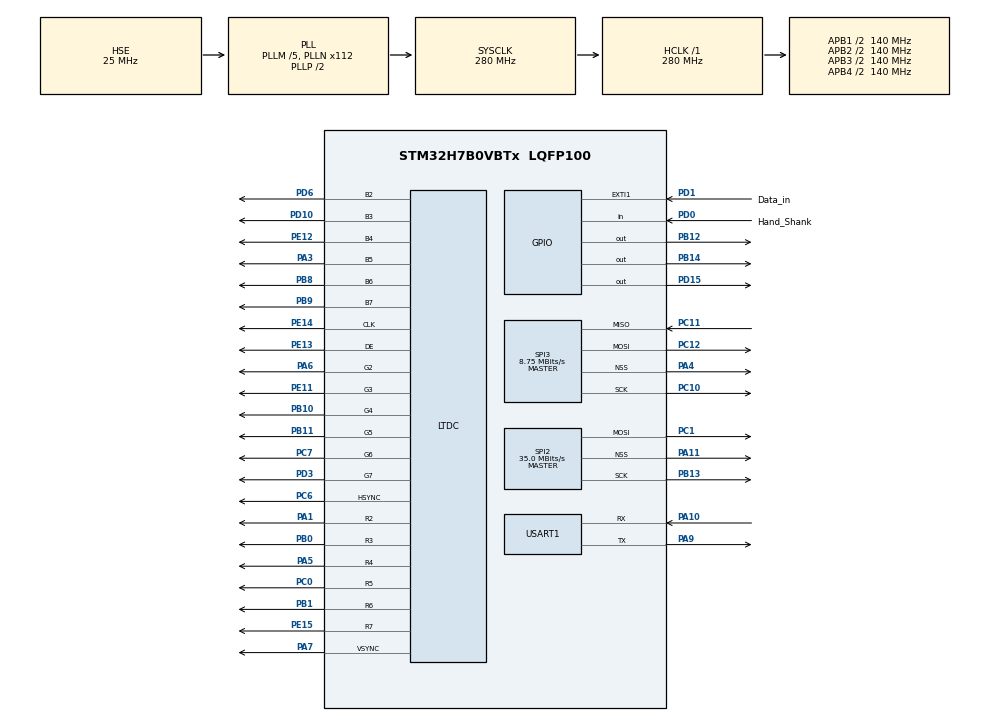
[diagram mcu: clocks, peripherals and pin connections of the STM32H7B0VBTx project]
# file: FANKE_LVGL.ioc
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CORTEX_M7.AccessPermission-Cortex_Memory_Protection_Unit_Region0_Settings=MPU_REGION_FULL_ACCESS
CORTEX_M7.BaseAddress-Cortex_Memory_Protection_Unit_Region0_Settings=0x24000000
CORTEX_M7.CPU_DCache=Enabled
CORTEX_M7.CPU_ICache=Enabled
CORTEX_M7.Enable-Cortex_Memory_Protection_Unit_Region0_Settings=MPU_REGION_ENABLE
CORTEX_M7.IsCacheable-Cortex_Memory_Protection_Unit_Region0_Settings=MPU_ACCESS_CACHEABLE
CORTEX_M7.MPU_Control=MPU_PRIVILEGED_DEFAULT
CORTEX_M7.Size-Cortex_Memory_Protection_Unit_Region0_Settings=MPU_REGION_SIZE_1MB
DMA2D.ColorMode=DMA2D_OUTPUT_RGB888
Dma.Request0=SPI2_TX
Dma.Request1=SPI3_RX
Dma.Request2=SPI3_TX
Dma.SPI2_TX.0.Direction=DMA_MEMORY_TO_PERIPH
Dma.SPI2_TX.0.EventEnable=DISABLE
Dma.SPI2_TX.0.FIFOMode=DMA_FIFOMODE_DISABLE
Dma.SPI2_TX.0.Instance=DMA1_Stream2
Dma.SPI2_TX.0.MemDataAlignment=DMA_MDATAALIGN_BYTE
Dma.SPI2_TX.0.MemInc=DMA_MINC_ENABLE
Dma.SPI2_TX.0.Mode=DMA_NORMAL
Dma.SPI2_TX.0.PeriphDataAlignment=DMA_PDATAALIGN_BYTE
Dma.SPI2_TX.0.PeriphInc=DMA_PINC_DISABLE
Dma.SPI2_TX.0.Polarity=HAL_DMAMUX_REQ_GEN_RISING
Dma.SPI2_TX.0.Priority=DMA_PRIORITY_LOW
Dma.SPI2_TX.0.RequestNumber=1
Dma.SPI2_TX.0.SignalID=NONE
Dma.SPI2_TX.0.SyncEnable=DISABLE
Dma.SPI2_TX.0.SyncPolarity=HAL_DMAMUX_SYNC_NO_EVENT
Dma.SPI2_TX.0.SyncRequestNumber=1
Dma.SPI2_TX.0.SyncSignalID=NONE
Dma.SPI3_RX.1.Direction=DMA_PERIPH_TO_MEMORY
Dma.SPI3_RX.1.EventEnable=DISABLE
Dma.SPI3_RX.1.FIFOMode=DMA_FIFOMODE_DISABLE
Dma.SPI3_RX.1.Instance=DMA1_Stream0
Dma.SPI3_RX.1.MemDataAlignment=DMA_MDATAALIGN_BYTE
Dma.SPI3_RX.1.MemInc=DMA_MINC_ENABLE
Dma.SPI3_RX.1.Mode=DMA_NORMAL
Dma.SPI3_RX.1.PeriphDataAlignment=DMA_PDATAALIGN_BYTE
Dma.SPI3_RX.1.PeriphInc=DMA_PINC_DISABLE
Dma.SPI3_RX.1.Polarity=HAL_DMAMUX_REQ_GEN_RISING
Dma.SPI3_RX.1.Priority=DMA_PRIORITY_VERY_HIGH
Dma.SPI3_RX.1.RequestNumber=1
Dma.SPI3_RX.1.SignalID=NONE
Dma.SPI3_RX.1.SyncEnable=DISABLE
Dma.SPI3_RX.1.SyncPolarity=HAL_DMAMUX_SYNC_NO_EVENT
Dma.SPI3_RX.1.SyncRequestNumber=1
Dma.SPI3_RX.1.SyncSignalID=NONE
Dma.SPI3_TX.2.Direction=DMA_MEMORY_TO_PERIPH
Dma.SPI3_TX.2.EventEnable=DISABLE
Dma.SPI3_TX.2.FIFOMode=DMA_FIFOMODE_DISABLE
Dma.SPI3_TX.2.Instance=DMA1_Stream1
Dma.SPI3_TX.2.MemDataAlignment=DMA_MDATAALIGN_BYTE
Dma.SPI3_TX.2.MemInc=DMA_MINC_ENABLE
Dma.SPI3_TX.2.Mode=DMA_NORMAL
Dma.SPI3_TX.2.PeriphDataAlignment=DMA_PDATAALIGN_BYTE
Dma.SPI3_TX.2.PeriphInc=DMA_PINC_DISABLE
Dma.SPI3_TX.2.Polarity=HAL_DMAMUX_REQ_GEN_RISING
Dma.SPI3_TX.2.Priority=DMA_PRIORITY_VERY_HIGH
Dma.SPI3_TX.2.RequestNumber=1
Dma.SPI3_TX.2.SignalID=NONE
Dma.SPI3_TX.2.SyncEnable=DISABLE
Dma.SPI3_TX.2.SyncPolarity=HAL_DMAMUX_SYNC_NO_EVENT
Dma.SPI3_TX.2.SyncRequestNumber=1
Dma.SPI3_TX.2.SyncSignalID=NONE
FREERTOS.Mutexes01=myMutex01,Dynamic,NULL
FREERTOS.Tasks01=defaultTask,24,512,StartDefaultTask,Default,NULL,Dynamic,NULL,NULL;myTask02,8,128,StartTask02,Default,NULL,Dynamic,NULL,NULL
FREERTOS.configUSE_TICK_HOOK=1
LTDC.ActiveW=800
LTDC.Alpha_L0=255
LTDC.FBStartAdress_L0=0x24000000
LTDC.HBP=13
LTDC.HFP=32
LTDC.HSync=41
LTDC.ImageHeight_L0=480
LTDC.ImageWidth_L0=800
LTDC.Layers=0
LTDC.PixelFormat_L0=LTDC_PIXEL_FORMAT_RGB565
LTDC.VSync=10
LTDC.WindowX1_L0=800
LTDC.WindowY1_L0=480
Mcu.Family=STM32H7
Mcu.Name=STM32H7B0VBTx
Mcu.Package=LQFP100
NVIC.DMA1_Stream0_IRQn=true\:5\:0\:false\:false\:true\:true\:false\:true\:true
NVIC.DMA1_Stream1_IRQn=true\:5\:0\:false\:false\:true\:true\:false\:true\:true
NVIC.DMA1_Stream2_IRQn=true\:5\:0\:false\:false\:true\:true\:false\:true\:true
NVIC.DMA2D_IRQn=true\:5\:0\:false\:false\:true\:true\:true\:true\:true
NVIC.EXTI1_IRQn=true\:5\:0\:false\:false\:true\:true\:true\:true\:true
NVIC.LTDC_ER_IRQn=true\:5\:0\:false\:false\:true\:true\:true\:true\:true
NVIC.LTDC_IRQn=true\:5\:0\:false\:false\:true\:true\:true\:true\:true
NVIC.PriorityGroup=NVIC_PRIORITYGROUP_4
NVIC.SPI2_IRQn=true\:5\:0\:false\:false\:true\:true\:false\:true\:true
NVIC.SPI3_IRQn=true\:1\:0\:true\:false\:true\:false\:false\:true\:true
NVIC.TIM17_IRQn=true\:15\:0\:false\:false\:true\:false\:false\:true\:true
NVIC.TimeBase=TIM17_IRQn
NVIC.TimeBaseIP=TIM17
PA1.GPIO_Speed=GPIO_SPEED_FREQ_VERY_HIGH
PA1.Mode=RGB666
PA1.Signal=LTDC_R2
PA10.Mode=Asynchronous
PA10.Signal=USART1_RX
PA11.Mode=NSS_Signal_Hard_Output
PA11.Signal=SPI2_NSS
PA13.Mode=Serial_Wire
PA13.Signal=DEBUG_JTMS-SWDIO
PA14.Mode=Serial_Wire
PA14.Signal=DEBUG_JTCK-SWCLK
PA3.GPIO_Speed=GPIO_SPEED_FREQ_VERY_HIGH
PA3.Mode=RGB666
PA3.Signal=LTDC_B5
PA4.GPIO_Speed=GPIO_SPEED_FREQ_VERY_HIGH
PA4.Mode=NSS_Signal_Hard_Output
PA4.Signal=SPI3_NSS
PA5.GPIO_Speed=GPIO_SPEED_FREQ_VERY_HIGH
PA5.Mode=RGB666
PA5.Signal=LTDC_R4
PA6.GPIO_Speed=GPIO_SPEED_FREQ_VERY_HIGH
PA6.Mode=RGB666
PA6.Signal=LTDC_G2
PA7.GPIO_Speed=GPIO_SPEED_FREQ_VERY_HIGH
PA7.Mode=RGB666
PA7.Signal=LTDC_VSYNC
PA9.Mode=Asynchronous
PA9.Signal=USART1_TX
PB0.GPIO_Speed=GPIO_SPEED_FREQ_VERY_HIGH
PB0.Mode=RGB666
PB0.Signal=LTDC_R3
PB1.GPIO_Speed=GPIO_SPEED_FREQ_VERY_HIGH
PB1.Mode=RGB666
PB1.Signal=LTDC_R6
PB10.GPIO_Speed=GPIO_SPEED_FREQ_VERY_HIGH
PB10.Mode=RGB666
PB10.Signal=LTDC_G4
PB11.GPIO_Speed=GPIO_SPEED_FREQ_VERY_HIGH
PB11.Mode=RGB666
PB11.Signal=LTDC_G5
PB12.Signal=GPIO_Output
PB13.Mode=TX_Only_Simplex_Unidirect_Master
PB13.Signal=SPI2_SCK
PB14.Signal=GPIO_Output
PB8.GPIO_Speed=GPIO_SPEED_FREQ_VERY_HIGH
PB8.Mode=RGB666
PB8.Signal=LTDC_B6
PB9.GPIO_Speed=GPIO_SPEED_FREQ_VERY_HIGH
PB9.Mode=RGB666
PB9.Signal=LTDC_B7
PC0.GPIO_Speed=GPIO_SPEED_FREQ_VERY_HIGH
PC0.Mode=RGB666
PC0.Signal=LTDC_R5
PC1.Mode=TX_Only_Simplex_Unidirect_Master
PC1.Signal=SPI2_MOSI
PC10.GPIO_Speed=GPIO_SPEED_FREQ_VERY_HIGH
PC10.Mode=Full_Duplex_Master
PC10.Signal=SPI3_SCK
PC11.GPIO_Speed=GPIO_SPEED_FREQ_VERY_HIGH
PC11.Mode=Full_Duplex_Master
PC11.Signal=SPI3_MISO
PC12.GPIO_Speed=GPIO_SPEED_FREQ_VERY_HIGH
PC12.Mode=Full_Duplex_Master
PC12.Signal=SPI3_MOSI
PC6.GPIO_Speed=GPIO_SPEED_FREQ_VERY_HIGH
PC6.Mode=RGB666
PC6.Signal=LTDC_HSYNC
PC7.GPIO_Speed=GPIO_SPEED_FREQ_VERY_HIGH
PC7.Mode=RGB666
PC7.Signal=LTDC_G6
PD0.GPIO_Label=Hand_Shank
PD0.Signal=GPIO_Input
PD1.GPIO_Label=Data_in
PD1.Signal=GPXTI1
PD10.GPIO_Speed=GPIO_SPEED_FREQ_VERY_HIGH
PD10.Mode=RGB666
PD10.Signal=LTDC_B3
PD15.PinState=GPIO_PIN_SET
PD15.Signal=GPIO_Output
PD3.GPIO_Speed=GPIO_SPEED_FREQ_VERY_HIGH
PD3.Mode=RGB666
PD3.Signal=LTDC_G7
PD6.GPIO_Speed=GPIO_SPEED_FREQ_VERY_HIGH
PD6.Mode=RGB666
PD6.Signal=LTDC_B2
PE11.GPIO_Speed=GPIO_SPEED_FREQ_VERY_HIGH
PE11.Mode=RGB666
PE11.Signal=LTDC_G3
PE12.GPIO_Speed=GPIO_SPEED_FREQ_VERY_HIGH
PE12.Mode=RGB666
PE12.Signal=LTDC_B4
PE13.GPIO_Speed=GPIO_SPEED_FREQ_VERY_HIGH
PE13.Mode=RGB666
PE13.Signal=LTDC_DE
PE14.GPIO_Speed=GPIO_SPEED_FREQ_VERY_HIGH
PE14.Mode=RGB666
PE14.Signal=LTDC_CLK
PE15.GPIO_Speed=GPIO_SPEED_FREQ_VERY_HIGH
PE15.Mode=RGB666
PE15.Signal=LTDC_R7
PH0-OSC_IN.Mode=HSE-External-Oscillator
PH0-OSC_IN.Signal=RCC_OSC_IN
PH1-OSC_OUT.Mode=HSE-External-Oscillator
PH1-OSC_OUT.Signal=RCC_OSC_OUT
ProjectManager.HeapSize=0x3000
ProjectManager.StackSize=0x1500
ProjectManager.TargetToolchain=MDK-ARM V5.32
RCC.ADCFreq_Value=50390625
RCC.APB1Freq_Value=140000000
RCC.APB2Freq_Value=140000000
RCC.APB3Freq_Value=140000000
RCC.APB4Freq_Value=140000000
RCC.CDPPRE=RCC_APB3_DIV2
RCC.CDPPRE1=RCC_APB1_DIV2
RCC.CDPPRE2=RCC_APB2_DIV2
RCC.CortexFreq_Value=280000000
RCC.DIVM1=5
RCC.DIVM3=4
RCC.DIVN1=112
RCC.DIVN3=43
RCC.DIVR3=8
RCC.HCLKFreq_Value=280000000
RCC.HSE_VALUE=25000000
RCC.PLL2FRACN=0
RCC.PLL3FRACN=0
RCC.PLLFRACN=0
RCC.PLLSourceVirtual=RCC_PLLSOURCE_HSE
RCC.SRDPPRE=RCC_APB4_DIV2
RCC.SYSCLKFreq_VALUE=280000000
RCC.SYSCLKSource=RCC_SYSCLKSOURCE_PLLCLK
RCC.USBFreq_Value=280000000
SPI2.BaudRatePrescaler=SPI_BAUDRATEPRESCALER_8
SPI2.CalculateBaudRate=35.0 MBits/s
SPI2.DataSize=SPI_DATASIZE_8BIT
SPI2.Direction=SPI_DIRECTION_2LINES_TXONLY
SPI2.Mode=SPI_MODE_MASTER
SPI2.VirtualNSS=VM_NSSHARD
SPI2.VirtualType=VM_MASTER
SPI3.BaudRatePrescaler=SPI_BAUDRATEPRESCALER_32
SPI3.CalculateBaudRate=8.75 MBits/s
SPI3.DataSize=SPI_DATASIZE_8BIT
SPI3.Direction=SPI_DIRECTION_2LINES
SPI3.Mode=SPI_MODE_MASTER
SPI3.VirtualNSS=VM_NSSHARD
SPI3.VirtualType=VM_MASTER
USART1.VirtualMode-Asynchronous=VM_ASYNC
VP_DMA2D_VS_DMA2D.Mode=DMA2D_Activate
VP_FREERTOS_VS_CMSIS_V2.Mode=CMSIS_V2
VP_SYS_VS_tim17.Mode=TIM17
board=custom

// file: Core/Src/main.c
/* USER CODE BEGIN Header */
/**
  ******************************************************************************
  * @file           : main.c
  * @brief          : Main program body
  ******************************************************************************
  * @attention
  *
  * Copyright (c) 2023 STMicroelectronics.
  * All rights reserved.
  *
  * This software is licensed under terms that can be found in the LICENSE file
  * in the root directory of this software component.
  * If no LICENSE file comes with this software, it is provided AS-IS.
  *
  ******************************************************************************
  */
/* USER CODE END Header */
#include "main.h"
#include "cmsis_os.h"
#include "dma.h"
#include "dma2d.h"
#include "ltdc.h"
#include "spi.h"
#include "usart.h"
#include "gpio.h"

/* USER CODE BEGIN Includes */
#include "lcd_rgb.h"
#include "lcd_test.h"
#include "touch_800x480.h"
#include "lvgl.h"
#include "lv_port_disp_template.h"
#include "lv_port_indev_template.h"
#include "lv_demo_keypad_encoder.h"
#include "lv_demo_stress.h"
#include "lv_demo_music.h"
#include "lv_demo_widgets.h"
#include "lv_demo_benchmark.h"
#include "wifi_cfg_page.h"

/* USER CODE END Includes */

void SystemClock_Config(void);
static void MPU_Config(void);
void MX_FREERTOS_Init(void);

int main(void)
{

  /* MPU Configuration--------------------------------------------------------*/
  MPU_Config();

  /* Enable I-Cache---------------------------------------------------------*/
  SCB_EnableICache();

  /* Enable D-Cache---------------------------------------------------------*/
  SCB_EnableDCache();

  /* MCU Configuration--------------------------------------------------------*/

  /* Reset of all peripherals, Initializes the Flash interface and the Systick. */
  HAL_Init();

  /* Configure the system clock */
  SystemClock_Config();

  /* Initialize all configured peripherals */
  MX_GPIO_Init();
  MX_DMA_Init();
  MX_LTDC_Init();
  MX_SPI2_Init();
  MX_DMA2D_Init();
  MX_USART1_UART_Init();
  MX_SPI3_Init();
  /* USER CODE BEGIN 2 */
	Touch_Init();				// 触摸屏初始化
	lv_init();					//	LVGL初始化
	lv_port_disp_init();		//	LVGL显示接口初始化
	lv_port_indev_init();	// LVGL触摸接口初始化
	gui_init();
	//lvgl_keyboard_mode_test();
  /* USER CODE END 2 */

  /* Init scheduler */
  osKernelInitialize();  /* Call init function for freertos objects (in freertos.c) */
  MX_FREERTOS_Init();

  /* Start scheduler */
  osKernelStart();
  /* We should never get here as control is now taken by the scheduler */
  /* Infinite loop */
  while (1)
  {

    /* USER CODE BEGIN 3 */

		HAL_Delay(10);

  }
  /* USER CODE END 3 */
}

void SystemClock_Config(void)
{
  RCC_OscInitTypeDef RCC_OscInitStruct = {0};
  RCC_ClkInitTypeDef RCC_ClkInitStruct = {0};

  /*AXI clock gating */
  RCC->CKGAENR = 0xFFFFFFFF;

  /** Supply configuration update enable
  */
  HAL_PWREx_ConfigSupply(PWR_LDO_SUPPLY);

  /** Configure the main internal regulator output voltage
  */
  __HAL_PWR_VOLTAGESCALING_CONFIG(PWR_REGULATOR_VOLTAGE_SCALE0);

  while(!__HAL_PWR_GET_FLAG(PWR_FLAG_VOSRDY)) {}

  /** Initializes the RCC Oscillators according to the specified parameters
  * in the RCC_OscInitTypeDef structure.
  */
  RCC_OscInitStruct.OscillatorType = RCC_OSCILLATORTYPE_HSE;
  RCC_OscInitStruct.HSEState = RCC_HSE_ON;
  RCC_OscInitStruct.PLL.PLLState = RCC_PLL_ON;
  RCC_OscInitStruct.PLL.PLLSource = RCC_PLLSOURCE_HSE;
  RCC_OscInitStruct.PLL.PLLM = 5;
  RCC_OscInitStruct.PLL.PLLN = 112;
  RCC_OscInitStruct.PLL.PLLP = 2;
  RCC_OscInitStruct.PLL.PLLQ = 2;
  RCC_OscInitStruct.PLL.PLLR = 2;
  RCC_OscInitStruct.PLL.PLLRGE = RCC_PLL1VCIRANGE_2;
  RCC_OscInitStruct.PLL.PLLVCOSEL = RCC_PLL1VCOWIDE;
  RCC_OscInitStruct.PLL.PLLFRACN = 0;
  if (HAL_RCC_OscConfig(&RCC_OscInitStruct) != HAL_OK)
  {
    Error_Handler();
  }

  /** Initializes the CPU, AHB and APB buses clocks
  */
  RCC_ClkInitStruct.ClockType = RCC_CLOCKTYPE_HCLK|RCC_CLOCKTYPE_SYSCLK
                              |RCC_CLOCKTYPE_PCLK1|RCC_CLOCKTYPE_PCLK2
                              |RCC_CLOCKTYPE_D3PCLK1|RCC_CLOCKTYPE_D1PCLK1;
  RCC_ClkInitStruct.SYSCLKSource = RCC_SYSCLKSOURCE_PLLCLK;
  RCC_ClkInitStruct.SYSCLKDivider = RCC_SYSCLK_DIV1;
  RCC_ClkInitStruct.AHBCLKDivider = RCC_HCLK_DIV1;
  RCC_ClkInitStruct.APB3CLKDivider = RCC_APB3_DIV2;
  RCC_ClkInitStruct.APB1CLKDivider = RCC_APB1_DIV2;
  RCC_ClkInitStruct.APB2CLKDivider = RCC_APB2_DIV2;
  RCC_ClkInitStruct.APB4CLKDivider = RCC_APB4_DIV2;

  if (HAL_RCC_ClockConfig(&RCC_ClkInitStruct, FLASH_LATENCY_7) != HAL_OK)
  {
    Error_Handler();
  }
}

/* MPU Configuration */

void MPU_Config(void)
{
  MPU_Region_InitTypeDef MPU_InitStruct = {0};

  /* Disables the MPU */
  HAL_MPU_Disable();

  /** Initializes and configures the Region and the memory to be protected
  */
  MPU_InitStruct.Enable = MPU_REGION_ENABLE;
  MPU_InitStruct.Number = MPU_REGION_NUMBER0;
  MPU_InitStruct.BaseAddress = 0x24000000;
  MPU_InitStruct.Size = MPU_REGION_SIZE_1MB;
  MPU_InitStruct.SubRegionDisable = 0x0;
  MPU_InitStruct.TypeExtField = MPU_TEX_LEVEL0;
  MPU_InitStruct.AccessPermission = MPU_REGION_FULL_ACCESS;
  MPU_InitStruct.DisableExec = MPU_INSTRUCTION_ACCESS_ENABLE;
  MPU_InitStruct.IsShareable = MPU_ACCESS_NOT_SHAREABLE;
  MPU_InitStruct.IsCacheable = MPU_ACCESS_CACHEABLE;
  MPU_InitStruct.IsBufferable = MPU_ACCESS_NOT_BUFFERABLE;

  HAL_MPU_ConfigRegion(&MPU_InitStruct);
  /* Enables the MPU */
  HAL_MPU_Enable(MPU_PRIVILEGED_DEFAULT);

}

void HAL_TIM_PeriodElapsedCallback(TIM_HandleTypeDef *htim)
{
  if (htim->Instance == TIM17) {
    HAL_IncTick();
  }
}

void Error_Handler(void)
{
  __disable_irq();
  while (1)
  {
  }
}

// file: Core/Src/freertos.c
/* USER CODE BEGIN Header */
/**
  ******************************************************************************
  * File Name          : freertos.c
  * Description        : Code for freertos applications
  ******************************************************************************
  * @attention
  *
  * Copyright (c) 2024 STMicroelectronics.
  * All rights reserved.
  *
  * This software is licensed under terms that can be found in the LICENSE file
  * in the root directory of this software component.
  * If no LICENSE file comes with this software, it is provided AS-IS.
  *
  ******************************************************************************
  */
/* USER CODE END Header */

#include "FreeRTOS.h"
#include "task.h"
#include "main.h"
#include "cmsis_os.h"

/* USER CODE BEGIN Includes */
#include "lcd_rgb.h"
#include "lcd_test.h"
#include "touch_800x480.h"
#include "lvgl.h"
#include "lv_port_disp_template.h"
#include "lv_port_indev_template.h"
#include "lv_demo_keypad_encoder.h"
#include "lv_demo_stress.h"
#include "lv_demo_music.h"
#include "lv_demo_widgets.h"
#include "lv_demo_benchmark.h"
#include "SPI_WiFi.h"
#include "usart.h"
#include "spi.h"
#include "stdio.h"
#include "string.h"
#include "SPI_WiFi.h"
#include "cJSON.h"
#include "main.h"
#include "spi.h"
#include "wifi_cfg_page.h"

/* USER CODE END Includes */

/* USER CODE BEGIN PTD */
int fputc(int ch,FILE *f){
	HAL_UART_Transmit(&huart1,(uint8_t *)&ch,1,100);
	return ch;
}
/* USER CODE END PTD */

/* USER CODE BEGIN Variables */
uint8_t p[1024],p2[1024]={0};
uint8_t p1[1024] ;//__attribute__((at(0x38000000)));
const char jpeg[] = {
	0xFF,0xD8,0xFF,0xE0,0x00,0x10,0x4A,0x46,0x49,0x46,0x00,0x01,0x01,0x00,0x00,0x01,0x00,0x01,0x00,0x00,0xFF,0xDB,0x00,0x43,0x00,0x50,0x37,0x3C,0x46,0x3C,0x32,0x50,0x46,0x41,0x46,0x5A,0x55,0x50,0x5F,0x78,0xC8,0x82,0x78,0x6E,0x6E,0x78,0xF5,0xAF,0xB9,0x91,0xC8,0xFF,0xFF,0xFF,0xFF,0xFF,0xFF,0xFF,0xFF,0xFF,0xFF,0xFF,0xFF,0xFF,0xFF,0xFF,0xFF,0xFF,0xFF,0xFF,0xFF,0xFF,
0xFF,0xFF,0xFF,0xFF,0xFF,0xFF,0xFF,0xFF,0xFF,0xFF,0xFF,0xFF,0xFF,0xFF,0xFF,0xFF,0xFF,0xFF,0xDB,0x00,0x43,0x01,0x55,0x5A,0x5A,0x78,0x69,0x78,0xEB,0x82,0x82,0xEB,0xFF,0xFF,0xFF,0xFF,0xFF,0xFF,0xFF,0xFF,0xFF,0xFF,0xFF,0xFF,0xFF,0xFF,0xFF,0xFF,0xFF,0xFF,0xFF,0xFF,0xFF,0xFF,0xFF,0xFF,0xFF,0xFF,0xFF,0xFF,0xFF,0xFF,0xFF,0xFF,0xFF,0xFF,0xFF,0xFF,0xFF,0xFF,0xFF,0xFF,0xFF,0xFF,0xFF,0xFF,0xFF,0xFF,0xFF,0xFF,0xFF,0xFF,0xFF,0xFF,0xFF,0xFF,0xFF,0xC0,0x00,0x11,0x08,0x00,
0xF0,0x01,0x40,0x03,0x01,0x22,0x00,0x02,0x11,0x01,0x03,0x11,0x01,0xFF,0xC4,0x00,0x1F,0x00,0x00,0x01,0x05,0x01,0x01,0x01,0x01,0x01,0x01,0x00,0x00,0x00,0x00,0x00,0x00,0x00,0x00,0x01,0x02,0x03,0x04,0x05,0x06,0x07,0x08,0x09,0x0A,0x0B,0xFF,0xC4,0x00,0xB5,0x10,0x00,0x02,0x01,0x03,
0x03,0x02,0x04,0x03,0x05,0x05,0x04,0x04,0x00,0x00,0x01,0x7D,0x01,0x02,0x03,0x00,0x04,0x11,0x05,0x12,0x21,0x31,0x41,0x06,0x13,0x51,0x61,0x07,0x22,0x71,0x14,0x32,0x81,0x91,0xA1,0x08,0x23,0x42,0xB1,0xC1,0x15,0x52,0xD1,0xF0,0x24,0x33,0x62,0x72,0x82,0x09,0x0A,0x16,0x17,0x18,0x19,0x1A,0x25,0x26,0x27,0x28,0x29,0x2A,0x34,0x35,0x36,0x37,0x38,0x39,0x3A,0x43,0x44,0x45,0x46,
0x47,0x48,0x49,0x4A,0x53,0x54,0x55,0x56,0x57,0x58,0x59,0x5A,0x63,0x64,0x65,0x66,0x67,0x68,0x69,0x6A,0x73,0x74,0x75,0x76,0x77,0x78,0x79,0x7A,0x83,0x84,0x85,0x86,0x87,0x88,0x89,0x8A,0x92,0x93,0x94,0x95,0x96,0x97,0x98,0x99,0x9A,0xA2,0xA3,0xA4,0xA5,0xA6,0xA7,0xA8,0xA9,0xAA,0xB2,0xB3,0xB4,0xB5,0xB6,0xB7,0xB8,0xB9,0xBA,0xC2,0xC3,0xC4,0xC5,0xC6,0xC7,0xC8,0xC9,0xCA,0xD2,0xD3,0xD4,0xD5,0xD6,0xD7,0xD8,0xD9,0xDA,0xE1,0xE2,0xE3,0xE4,0xE5,0xE6,0xE7,0xE8,0xE9,0xEA,0xF1,
0xF2,0xF3,0xF4,0xF5,0xF6,0xF7,0xF8,0xF9,0xFA,0xFF,0xC4,0x00,0x1F,0x01,0x00,0x03,0x01,0x01,0x01,0x01,0x01,0x01,0x01,0x01,0x01,0x00,0x00,0x00,0x00,0x00,0x00,0x01,0x02,0x03,0x04,0x05,0x06,0x07,0x08,0x09,0x0A,0x0B,0xFF,0xC4,0x00,0xB5,0x11,0x00,0x02,0x01,0x02,0x04,0x04,0x03,0x04,
0x07,0x05,0x04,0x04,0x00,0x01,0x02,0x77,0x00,0x01,0x02,0x03,0x11,0x04,0x05,0x21,0x31,0x06,0x12,0x41,0x51,0x07,0x61,0x71,0x13,0x22,0x32,0x81,0x08,0x14,0x42,0x91,0xA1,0xB1,0xC1,0x09,0x23,0x33,0x52,0xF0,0x15,0x62,0x72,0xD1,0x0A,0x16,0x24,0x34,0xE1,0x25,0xF1,0x17,0x18,0x19,0x1A,
0x26,0x27,0x28,0x29,0x2A,0x35,0x36,0x37,0x38,0x39,0x3A,0x43,0x44,0x45,0x46,0x47,0x48,0x49,0x4A,0x53,0x54,0x55,0x56,0x57,0x58,0x59,0x5A,0x63,0x64,0x65,0x66,0x67,0x68,0x69,0x6A,0x73,0x74,0x75,0x76,0x77,0x78,0x79,0x7A,0x82,0x83,0x84,0x85,0x86,0x87,0x88,0x89,0x8A,0x92,0x93,0x94,
0x95,0x96,0x97,0x98,0x99,0x9A,0xA2,0xA3,0xA4,0xA5,0xA6,0xA7,0xA8,0xA9,0xAA,0xB2,0xB3,0xB4,0xB5,0xB6,0xB7,0xB8,0xB9,0xBA,0xC2,0xC3,0xC4,0xC5,0xC6,0xC7,0xC8,0xC9,0xCA,0xD2,0xD3,0xD4,0xD5,0xD6,0xD7,0xD8,0xD9,0xDA,0xE2,0xE3,0xE4,0xE5,0xE6,0xE7,0xE8,0xE9,0xEA,0xF2,0xF3,0xF4,0xF5,0xF6,0xF7,0xF8,0xF9,0xFA,0xFF,0xDA,0x00,0x0C,0x03,0x01,0x00,0x02,0x11,0x03,0x11,0x00,0x3F,0x00,0x5A,0x28,0xA2,0x80,0x0A,0x5A,0x4A,0x5A,0x09,0x61,0x46,0x68,0xA2,0x82,0x6C,0x21,0xA4,0xA5,
0xA2,0x82,0xD0,0x52,0xD1,0x45,0x03,0x10,0xD3,0x4D,0x38,0xD3,0x4D,0x00,0x25,0x14,0x51,0x40,0x05,0x28,0xA4,0xA5,0x14,0x00,0xE1,0x4E,0x14,0xD1,0x4A,0x29,0x12,0x3C,0x53,0x85,0x30,0x1A,0x70,0x34,0x14,0x3E,0x8A,0x6E,0x68,0xDD,0x4C,0x05,0xA4,0xA3,0x34,0x99,0xA0,0x05,0xA4,0xA3,0x34,0x99,0xA0,0x00,0xD2,0x50,0x4D,0x37,0x34,0x00,0x51,0x49,0x9A,0x4C,0xD0,0x02,0xD2,0x51,0x49,0x40,0x08,0xC6,0xA1,0x6A,0x95,0xAA,0x23,0x40,0x09,0x40,0xA3,0x14,0xA0,0x50,0x02,0x8A,0x5A,0x28,
0xA0,0x61,0x45,0x14,0x50,0x04,0xF4,0x0A,0x29,0x45,0x04,0xB0,0xA3,0x14,0xB4,0x50,0x66,0xD8,0x94,0x94,0xEA,0x42,0x28,0x29,0x31,0x28,0xA2,0x96,0x82,0xC2,0x8A,0x28,0xA0,0x04,0x34,0xD3,0x4A,0x69,0x0D,0x00,0x25,0x14,0x51,0x40,0x05,0x28,0xA2,0x94,0x0A,0x04,0xC5,0xA2,0x8A,0x43,0x48,
0x91,0x73,0x46,0xEA,0x61,0x34,0x99,0xA6,0x52,0x24,0xDD,0x46,0xEA,0x8F,0x34,0x66,0x81,0x92,0x6E,0xA5,0xDD,0x51,0x66,0x8C,0xD0,0x04,0xBB,0xA8,0xDD,0x51,0xE6,0x8C,0xD0,0x03,0xF3,0x49,0x9A,0x6E,0x69,0x33,0x40,0xC7,0x66,0x8C,0xD3,0x73,0x46,0x68,0x01,0x73,0x45,0x37,0x34,0x66,0x80,
0x11,0xA9,0xB4,0xA6,0x92,0x81,0x05,0x14,0x52,0xD0,0x01,0x45,0x14,0x50,0x30,0xA4,0xA2,0x92,
0x80,0x2C,0xD0,0x28,0xA2,0x82,0x47,0x51,0x48,0x0D,0x2E,0x68,0x33,0x71,0x0A,0x0D,0x19,0xA4,0xA0,0x69,0x05,0x14,0x94,0x50,0x68,0x2D,0x14,0x52,0x1A,0x00,0x43,0x4D,0x34,0xE3,0x4D,0xA0,0x02,0x8A,0x29,0x68,0x00,0x1D,0x69,0xF8,0xA6,0xAF,0x5A,0x7D,0x04,0xC8,0x4A,0x69,0xA7,0x1A,0x61,0xA4,0x42,0x1A,0x69,0xB9,0xA5,0x34,0xDA,0x66,0x88,0x5C,0xD1,0x9A,0x6D,0x14,0x0C,0x76,0x68,0xCD,0x36,0x96,0x80,0x17,0x34,0xB9,0xA6,0xD1,0x40,0xC5,0xCD,0x2E,0x69,0xB4,0x50,0x02,0xD1,0x49,
0x45,0x00,0x2D,0x14,0x94,0x50,0x02,0x1A,0x28,0xA4,0xA0,0x42,0xD2,0xD3,0x73,0x4B,0x40,0x0B,0x49,0x45,0x21,0xA0,0x61,0x45,0x25,0x28,0xA0,0x45,0x9A,0x28,0xA2,0x80,0x0A,0x28,0xA2,0x80,0x0A,0x28,0xA2,0x80,0x0A,0x5A,0x28,0xA0,0x02,0x90,0xD2,0xD2,0x1A,0x00,0x69,0xA4,0xA5,0x34,0x94,
0x00,0x52,0xD1,0x45,0x00,0x39,0x7A,0xD3,0xA9,0xAB,0x4E,0xA0,0x89,0x08,0x69,0x8D,0x4F,0x35,0x1B,0x52,0x25,0x0C,0x34,0xDA,0x53,0x49,0x4C,0xD1,0x05,0x14,0x94,0x50,0x31,0x68,0xA2,0x8A,0x06,0x14,0x51,0x45,0x00,0x2D,0x14,0x94,0xB4,0x00,0x51,0x45,0x14,0x00,0x51,0x45,0x25,0x00,0x14,0x86,0x96,0x8A,0x04,0x36,0x8C,0xD0,0x69,0x28,0x01,0x73,0x45,0x25,0x14,0x00,0xB4,0xA2,0x9B,0x4B,0x40,0x16,0xE8,0xA2,0x96,0x80,0x12,0x8A,0x5A,0x28,0x01,0x28,0xA5,0xA2,0x80,0x12,0x8A,0x5A,
0x28,0x01,0x29,0x0D,0x3A,0x9A,0x68,0x01,0xA6,0x92,0x94,0xD1,0x40,0x05,0x14,0x51,0x40,0x0E,0x14,0xB4,0x82,0x96,0x82,0x24,0x21,0xA6,0x35,0x3C,0xD4,0x6D,0x48,0x48,0x61,0xA6,0xD2,0x9A,0x4A,0x65,0xA0,0xA2,0x8A,0x28,0x18,0xB4,0x51,0x45,0x03,0x0A,0x28,0xA2,0x80,0x0A,0x28,0xA2,0x80,0x16,0x8A,0x28,0xA0,0x02,0x92,0x96,0x92,0x80,0x0A,0x28,0xA2,0x90,0x08,0x69,0x29,0xD4,0x98,0xA6,0x21,0x31,0x45,0x3B,0x14,0x98,0xA0,0x04,0xA2,0x96,0x8A,0x06,0x59,0xCD,0x2E,0x69,0x99,0xA5,
0xCD,0x02,0x1D,0x9A,0x33,0x4D,0xCD,0x19,0xA0,0x07,0xD1,0x4C,0xCD,0x2E,0x68,0x01,0xD4,0xB4,0xDC,0xD2,0xE6,0x80,0x0A,0x43,0x4B,0x9A,0x28,0x01,0xA4,0x52,0x62,0x9D,0x49,0x40,0x0D,0xA5,0xA5,0xC5,0x25,0x00,0x28,0xA5,0xA4,0x14,0xB4,0x88,0x63,0x4D,0x46,0xD4,0xF6,0xA8,0xDA,0x80,0x43,
0x4D,0x25,0x2D,0x25,0x32,0xC2,0x8A,0x28,0xA0,0x61,0x45,0x14,0x50,0x02,0xD1,0x49,0x4B,0x40,0x05,0x14,0x51,0x40,0x0B,0x45,0x14,0x50,0x01,0x49,0x4B,0x49,0x40,0x05,0x14,0x52,0xD2,0x00,0xA4,0xA2,0x8A,0x00,0x28,0xA2,0x8A,0x00,0x28,0xA2,0x8A,0x00,0x96,0x8A,0x5A,0x4A,0x64,0x89,0x46,
0x68,0xA2,0x81,0x80,0x34,0xEC,0xD3,0x69,0x68,0x01,0x73,0x4B,0x9A,0x6D,0x2D,0x02,0x1D,0x9A,0x33,0x4D,0xA2,0x80,0x1F,0x9A,0x29,0xB9,0xA5,0xCD,0x03,0x16,0x8A,0x33,0x45,0x00,0x14,0x94,0x52,
0x13,0x48,0x96,0x84,0x6A,0x88,0xD3,0xD8,0xD4,0x66,0x81,0xA4,0x14,0x50,0x29,0x71,0x4C,0xA1,0xB8,0xA2,0x9D,0x8A,0x31,0x40,0x0D,0xA2,0x96,0x8A,0x00,0x4A,0x28,0xA2,0x80,0x16,0x8A,0x28,0xA0,0x05,0xA2,0x8A,0x28,0x00,0xA4,0xA5,0xA4,0xA0,0x02,0x96,0x92,0x96,0x90,0x09,0x45,0x14,0x50,0x01,0x45,0x14,0x50,0x01,0x45,0x14,0x50,0x04,0xF4,0x94,0xEC,0x51,0x8A,0x62,0x19,0x8A,0x31,0x4E,0xC5,0x18,0xA0,0x06,0xD1,0x4E,0xC5,0x26,0x28,0x01,0x29,0x68,0xC5,0x14,0x00,0x51,0x45,0x14,
0x08,0x29,0x69,0x28,0xA0,0x62,0xE6,0x8C,0xD2,0x52,0xD0,0x01,0x48,0x69,0x69,0x0D,0x01,0x61,0x8D,0x4C,0x34,0xE6,0xA6,0xD0,0x00,0x29,0xE2,0x9A,0x29,0xC2,0x81,0x85,0x25,0x3A,0x92,0x90,0xC6,0xD2,0x53,0xA9,0x28,0x01,0x28,0xA2,0x8A,0x62,0x0A,0x28,0xA2,0x80,0x16,0x8A,0x28,0xA0,0x02,0x92,0x94,0xD2,0x50,0x01,0x45,0x14,0xB4,0x00,0x94,0x52,0xD2,0x52,0x00,0xA5,0xA2,0x92,0x80,0x0A,0x28,0xA4,0xA0,0x0B,0x74,0x62,0x8A,0x29,0x88,0x4C,0x51,0x8A,0x5A,0x28,0x01,0x31,0x49,0x8A,
0x75,0x18,0xA0,0x06,0xE2,0x92,0x9F,0x8A,0x69,0xA0,0x06,0xD1,0x41,0xA4,0xA0,0x05,0xA2,0x92,0x96,0x81,0x85,0x2D,0x14,0x50,0x01,0x48,0x69,0x69,0xA6,0x80,0x18,0xD4,0xDA,0x71,0xA6,0xD0,0x02,0x8A,0x78,0xA6,0x0A,0x70,0xA0,0x05,0xA2,0x8A,0x29,0x0C,0x4A,0x4A,0x5A,0x28,0x01,0xB4,0x94,
0xEA,0x4A,0x04,0x25,0x2D,0x14,0x53,0x00,0xA2,0x8A,0x28,0x01,0x0D,0x25,0x06,0x8A,0x00,0x5A,0x29,0x29,0x68,0x00,0xA2,0x8A,0x29,0x00,0x51,0x45,0x14,0xC0,0x29,0x29,0x68,0xA4,0x05,0xAA,0x28,0xA2,0x98,0x82,0x96,0x92,0x8A,0x00,0x5A,0x28,0xA2,0x80,0x0A,0x69,0xA7,0xD3,0x4D,0x00,0x30,
0xD3,0x69,0xC6,0x92,0x80,0x0A,0x5A,0x4A,0x5A,0x00,0x28,0xA2,0x96,0x81,0x89,0x4D,0x34,0xEA,0x6B,0x50,0x32,0x33,0x49,0x4A,0x68,0xA0,0x40,0x29,0xC2,0x9A,0x29,0x68,0x01,0xD4,0x52,0x52,0xD2,0x18,0x52,0x52,0xD1,0x40,0x09,0x49,0x4E,0xA4,0xA0,0x04,0xA4,0xA7,0x52,0x50,0x21,0x28,0xA5,
0xA4,0x34,0x00,0xD3,0x45,0x14,0x53,0x00,0xA2,0x8A,0x28,0x01,0x68,0xA2,0x8A,0x00,0x28,0xA5,0xA2,0x80,0x12,0x8A,0x28,0xA4,0x05,0xAA,0x28,0xA2,0x98,0x82,0x8A,0x28,0xA0,0x02,0x96,0x92,0x96,0x80,0x0A,0x43,0x4B,0x48,0x68,0x01,0xA6,0x9B,0x4A,0x69,0x28,0x00,0xA5,0xA4,0xA5,0xA0,0x05,0x14,0x50,0x29,0x4D,0x03,0x1A,0x69,0x8D,0x4F,0x34,0xC6,0xA0,0x63,0x0D,0x14,0x51,0x40,0x85,0xA2,0x8A,0x5A,0x00,0x29,0x69,0x29,0x68,0x01,0x68,0xA2,0x8A,0x40,0x14,0x94,0xB4,0x50,0x02,0x52,
0x53,0xA9,0x28,0x18,0xDA,0x43,0x4E,0x34,0xC3,0x40,0x84,0xA2,0x8A,0x29,0x80,0xB4,0x51,0x45,0x00,0x14,0xB4,0x94,0xB4,0x00,0x51,0x45,0x14,0x80,0x4A,0x28,0x34,0x94,0x01,0x6A,0x96,0x92,0x96,0x98,0x82,0x8A,0x28,0xA0,0x02,0x8A,0x28,0xA0,0x05,0xA4,0x34,0xB4,0xD3,0x40,0x0D,0x34,0x94,
0xA6,0x92,0x80,0x0A,0x5A,0x4A,0x5A,0x00,0x51,0x41,0xA2,0x8A,0x06,0x86,0x9A,0x61,0xA7,0x9A,0x61,0xA0,0x62,0x50,0x05,0x2D,0x28,0x14,0x08,0x31,0x46,0x29,0xD8,0xA5,0xC5,0x02,0x1B,0x8A,0x31,0x4E,0xC5,0x2E,0x28,0x18,0xCC,0x52,0xD3,0xB1,0x46,0x28,0x01,0xB4,0x53,0xB1,0x46,0x29,0x00,0xDA,0x4A,0x76,0x28,0xC5,0x00,0x30,0xD3,0x1A,0xA4,0x35,0x1B,0x50,0x03,0x68,0xA5,0xA2,0x98,0x05,0x2D,0x14,0x52,0x00,0xA2,0x8A,0x28,0x00,0xA2,0x8A,0x28,0x01,0x0D,0x00,0x51,0x4A,0x28,0x02,
0xC5,0x2D,0x25,0x2D,0x31,0x05,0x14,0x51,0x40,0x05,0x14,0x51,0x40,0x05,0x21,0xA5,0xA4,0x34,0x00,0xD3,0x49,0x41,0xA2,0x80,0x0A,0x5A,0x4A,0x5A,0x00,0x28,0xA2,0x8A,0x0A,0x42,0x1A,0x69,0xA7,0xD2,0x62,0x80,0x1A,0x05,0x3C,0x0A,0x00,0xA9,0x00,0xA0,0x91,0xA0,0x52,0xE2,0x9F,0x8A,0x31,
0x40,0x0D,0xC5,0x18,0xA7,0x62,0x97,0x14,0x00,0xCC,0x51,0x8A,0x7E,0x29,0x28,0x01,0xB8,0xA4,0xC5,0x3E,0x92,0x90,0x0D,0xC5,0x26,0x29,0xD4,0x50,0x32,0x26,0x15,0x11,0xEB,0x53,0x3D,0x42,0x7A,0xD0,0x01,0x45,0x14,0x50,0x01,0x4B,0x45,0x14,0x00,0x52,0x52,0xD2,0x50,0x01,0x49,0x4B,0x49,
0x40,0x05,0x38,0x53,0x69,0xC2,0x80,0x2C,0x51,0x45,0x15,0x40,0x14,0x94,0x51,0x48,0x42,0xD1,0x49,0x4B,0x40,0x05,0x34,0xD3,0x8D,0x34,0xD0,0x03,0x4D,0x14,0x51,0x40,0x05,0x2D,0x25,0x28,0xA0,0x05,0xA2,0x8A,0x05,0x05,0x06,0x28,0x02,0x9C,0x05,0x28,0x14,0x09,0x80,0x14,0xF0,0x28,0x02,0x96,0x81,0x05,0x14,0x51,0x40,0x05,0x14,0x51,0x40,0x05,0x25,0x2D,0x25,0x00,0x25,0x14,0xB4,0x94,0x80,0x4A,0x0D,0x2D,0x21,0xA0,0x08,0x9E,0xA1,0xEF,0x52,0xC9,0x51,0x50,0x30,0xA2,0x8A,0x5A,
0x00,0x28,0xA2,0x8A,0x00,0x29,0x29,0x69,0x28,0x00,0xA2,0x8A,0x28,0x00,0xA7,0x0A,0x6D,0x28,0xA0,0x09,0xE8,0xA4,0xA5,0xA6,0x20,0xA2,0x8A,0x28,0x00,0xA5,0xA4,0xA2,0x80,0x03,0x4D,0x34,0xE3,0x4D,0x34,0x00,0x94,0x51,0x45,0x00,0x14,0xA2,0x92,0x94,0x50,0x34,0x2D,0x28,0xA2,0x94,0x50,
0x58,0xE0,0x29,0x45,0x02,0x96,0x82,0x58,0xB4,0x51,0x45,0x04,0x85,0x14,0x51,0x40,0x05,0x14,0x51,0x40,0x05,0x25,0x2D,0x25,0x00,0x14,0x51,0x45,0x20,0x12,0x90,0xD3,0xA9,0xAD,0x40,0x10,0xC9,
0x51,0x54,0x92,0x54,0x74,0xC6,0x2D,0x14,0x51,0x48,0x02,0x8A,0x28,0xA0,0x02,0x92,0x96,0x92,0x80,0x0A,0x28,0xA4,0xA0,0x05,0xA5,0xA0,0x51,0x40,0x1F,0xFF,0xD9

};
/* USER CODE END Variables */
/* Definitions for defaultTask */
osThreadId_t defaultTaskHandle;
const osThreadAttr_t defaultTask_attributes = {
  .name = "defaultTask",
  .stack_size = 2048 * 4,
  .priority = (osPriority_t) osPriorityNormal,
};
/* Definitions for myTask02 */
osThreadId_t myTask02Handle;
const osThreadAttr_t myTask02_attributes = {
  .name = "myTask02",
  .stack_size = 256 * 4,
  .priority = (osPriority_t) osPriorityLow,
};
/* Definitions for myMutex01 */
osMutexId_t myMutex01Handle;
const osMutexAttr_t myMutex01_attributes = {
  .name = "myMutex01"
};

void StartDefaultTask(void *argument);
void StartTask02(void *argument);

void MX_FREERTOS_Init(void); /* (MISRA C 2004 rule 8.1) */

/* Hook prototypes */
void vApplicationTickHook(void);

/* USER CODE BEGIN 3 */
void vApplicationTickHook( void )
{
   /* This function will be called by each tick interrupt if
   configUSE_TICK_HOOK is set to 1 in FreeRTOSConfig.h. User code can be
   added here, but the tick hook is called from an interrupt context, so
   code must not attempt to block, and only the interrupt safe FreeRTOS API
   functions can be used (those that end in FromISR()). */
	lv_tick_inc(1);
}
/* USER CODE END 3 */

void MX_FREERTOS_Init(void) {
  /* Create the mutex(es) */
  /* creation of myMutex01 */
  myMutex01Handle = osMutexNew(&myMutex01_attributes);

  /* Create the thread(s) */
  /* creation of defaultTask */
  defaultTaskHandle = osThreadNew(StartDefaultTask, NULL, &defaultTask_attributes);

  /* creation of myTask02 */
  myTask02Handle = osThreadNew(StartTask02, NULL, &myTask02_attributes);

}

void StartDefaultTask(void *argument)
{
  /* USER CODE BEGIN StartDefaultTask */
  /* Infinite loop */
	ESP_Init_Default_Cfg();
  for(;;)
  {
		osMutexAcquire(myMutex01Handle,portMAX_DELAY);
		lv_task_handler();
		osMutexRelease(myMutex01Handle);
//		int i=0,j=0,k=0,point=0;
//		unsigned char temp_jpeg[1024];
//		int len = sizeof(jpeg);
//		int block = len/1024;
//
//		for (i=0;i<block;i++)
//		{
//			for(j=0;j<1024;j++)
//			{
//				temp_jpeg[j]=jpeg[point];
//				point = point + 1;
//			}
//			write(&hspi3,temp_jpeg,1024);
//			osDelay(10);
//		}
//		memset(temp_jpeg,0,1024);
//		len=len%1024;
//		for(k=0;k<len;k++)
//		{
//			temp_jpeg[k]=jpeg[point];
//			point = point + 1;
//		}
//		write(&hspi3,temp_jpeg,1024);
    osDelay(10);
  }
  /* USER CODE END StartDefaultTask */
}

void StartTask02(void *argument)
{
  /* USER CODE BEGIN StartTask02 */
  /* Infinite loop */
	printf("完成OK\r\n");
  for(;;)
  {
		memset(p1,0,1024);
		if(read(&hspi3,p1,100)==1){
			HAL_UART_Transmit(&huart1,(uint8_t *)p1,1024,100);
			//printf("%s\r\n",p1);
		}
		//write(&hspi3,"123124",100);
    osDelay(3);
  }
  /* USER CODE END StartTask02 */
}

/* USER CODE BEGIN Application */
void HAL_GPIO_EXTI_Callback(uint16_t GPIO_Pin){
//	if(HAL_GPIO_ReadPin(Data_in_GPIO_Port,Data_in_Pin) == GPIO_PIN_SET){
//		HAL_UART_Transmit(&huart1,(uint8_t *)"Ready",5,100);
////		while(HAL_GPIO_ReadPin(Hand_Shank_GPIO_Port,Hand_Shank_Pin) == GPIO_PIN_RESET){
////			;
////		}
////		if(HAL_GPIO_ReadPin(Hand_Shank_GPIO_Port,Hand_Shank_Pin) == GPIO_PIN_SET){
////			HAL_SPI_Receive_DMA(&hspi3,p1,1024);
////		}
//	}
}
void HAL_SPI_RxCpltCallback(SPI_HandleTypeDef *hspi){
	if(hspi == &hspi3){
		//printf("SPI接受中断\r\n");
		HAL_UART_Transmit(&huart1,p1,1024,100);
	}
}
void HAL_SPI_TxCpltCallback(SPI_HandleTypeDef *hspi){
	if(hspi == &hspi3){
		//printf("SPI发送中断\r\n");
	}
}
void HAL_SPI_TxRxCpltCallback(SPI_HandleTypeDef *hspi)
{
	if(hspi==&hspi3)
	{
		//printf("SPI收发中断\r\n");
		SPI_Receive_Flag = 1;
	}
}
/* USER CODE END Application */
